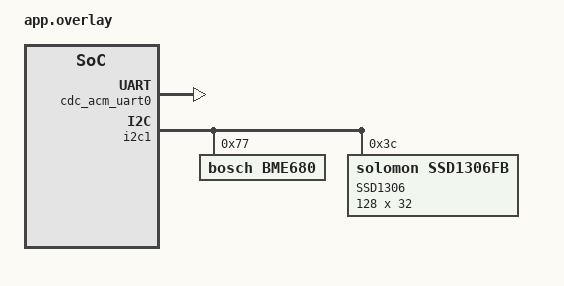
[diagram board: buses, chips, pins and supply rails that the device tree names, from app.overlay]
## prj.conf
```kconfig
CONFIG_GPIO=y
CONFIG_USB_DEVICE_STACK=y
CONFIG_USB_DEVICE_PRODUCT="Notecard Sample"
CONFIG_USB_DEVICE_VID=4440

CONFIG_SERIAL=y
CONFIG_CONSOLE=y
CONFIG_UART_CONSOLE=y
CONFIG_UART_LINE_CTRL=y

CONFIG_I2C=y
CONFIG_SENSOR=y
CONFIG_BME680=y

CONFIG_DISPLAY=y

CONFIG_SSD1306=y
CONFIG_SSD1306_DEFAULT_CONTRAST=128
CONFIG_SSD1306_DEFAULT=y

CONFIG_NEWLIB_LIBC=y
```

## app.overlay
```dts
/*
 * Copyright (c) 2021 Nordic Semiconductor ASA
 *
 * SPDX-License-Identifier: Apache-2.0
 */

/ {
	chosen {
		zephyr,console = &cdc_acm_uart0;
	};
};

&zephyr_udc0 {
	cdc_acm_uart0: cdc_acm_uart0 {
		compatible = "zephyr,cdc-acm-uart";
		label = "CDC_ACM_0";
	};
};

&i2c1 {
	bme680: bme680@77 {
		compatible = "bosch,bme680";
		reg = <0x77>;
		label = "BME680";
	};

	ssd1306@3c {
        compatible = "solomon,ssd1306fb";
        reg = <0x3c>;
        label = "SSD1306";
        height = <32>;
        width  = <128>;
        segment-offset  = <0>;
        page-offset     = <0>;
        display-offset  = <0>;
        multiplex-ratio = <31>;
        prechargep      = <0xD1>;
        segment-remap;
        com-invdir;
        com-sequential;
    };
};
```

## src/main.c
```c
/*
 * Written by the Blues Inc. team.
 *
 * Copyright (c) 2019 Blues Inc. MIT License. Use of this source code is
 * governed by licenses granted by the copyright holder including that found in
 * the LICENSE file.
 */

#include <stdlib.h>
#include <zephyr.h>
#include <device.h>
#include <drivers/sensor.h>
#include <drivers/gpio.h>
#include <sys/util.h>
#include <sys/printk.h>
#include <inttypes.h>
#include <usb/usb_device.h>
#include <drivers/uart.h>

// Include Notecard note-c library
#include "note.h"

// Notecard node-c helper methods
#include "notecard.c"

// Set your ProductUID Here
#define PRODUCT_UID "com.blues.bsatrom:snowflake_demo"

#define SLEEP_TIME_MS	1

uint8_t button_pressed_count = 0;

// Uncomment to communicate with the Notecard over Serial
// #define USE_SERIAL 1

/*
 * Get button configuration from the devicetree sw0 alias. This is mandatory.
 */
#define SW0_NODE	DT_ALIAS(sw0)
#if !DT_NODE_HAS_STATUS(SW0_NODE, okay)
#error "Unsupported board: sw0 devicetree alias is not defined"
#endif

static const struct gpio_dt_spec button = GPIO_DT_SPEC_GET_OR(SW0_NODE, gpios, {0});
static struct gpio_callback button_cb_data;

/*
 * The led0 devicetree alias is optional. If present, we'll use it
 * to turn on the LED whenever the button is pressed.
 */
static struct gpio_dt_spec led = GPIO_DT_SPEC_GET_OR(DT_ALIAS(led0), gpios, {0});

void button_pressed(const struct device *dev, struct gpio_callback *cb,
		    uint32_t pins)
{
	printk("Button pressed at %" PRIu32 "\n", k_cycle_get_32());
}

/*
 * Ensure that an overlay for USB serial has been defined.
 */
BUILD_ASSERT(DT_NODE_HAS_COMPAT(DT_CHOSEN(zephyr_console), zephyr_cdc_acm_uart),
	    "Console device is not ACM CDC UART device");

void main(void)
{
	int ret;

	// Configure USB Serial for Console output
	const struct device *usb_dev = DEVICE_DT_GET(DT_CHOSEN(zephyr_console));
	uint32_t dtr = 0;

	if (usb_enable(NULL)) {
		return;
	}

	// Sleep to wait for a terminal connection. To wait until connected, comment out
	// these two lines and uncomment the while below.
	k_sleep(K_MSEC(2500));
	uart_line_ctrl_get(usb_dev, UART_LINE_CTRL_DTR, &dtr);

	/* To wait for a Console connection, uncomment to poll if the DTR flag was set to activate USB */
	/*
	while (!dtr) {
		uart_line_ctrl_get(usb_dev, UART_LINE_CTRL_DTR, &dtr);
		k_sleep(K_MSEC(100));
	}
	*/

	const struct device *bme_dev = device_get_binding(DT_LABEL(DT_INST(0, bosch_bme680)));
	struct sensor_value temp, press, humidity, gas_res;

	printk("Device %p name is %s\n", bme_dev, bme_dev->name);

	// Initialize note-c references
	NoteSetUserAgent((char *)"note-zephyr");
    NoteSetFnDefault(malloc, free, platform_delay, platform_millis);
	NoteSetFnDebugOutput(noteLogPrint);

	#ifdef USE_SERIAL
		NoteSetFnSerial(noteSerialReset, noteSerialTransmit,
                        noteSerialAvailable, noteSerialReceive);
	#else
		NoteSetFnI2C(NOTE_I2C_ADDR_DEFAULT, NOTE_I2C_MAX_DEFAULT, noteI2cReset,
            		 noteI2cTransmit, noteI2cReceive);

	#endif

	// Send a Notecard hub.set using note-c
	J *req = NoteNewRequest("hub.set");
	JAddStringToObject(req, "product", PRODUCT_UID);
	JAddStringToObject(req, "mode", "continuous");
	JAddStringToObject(req, "sn", "zephyr-notecard");

	if (NoteRequest(req)) {
		printk("Notecard hub.set successful.\n");
	} else {
		printk("Notecard hub.set failed.\n");
	}

	req = NoteNewRequest("card.dfu");
  	JAddStringToObject(req, "name", "stm32");
  	JAddBoolToObject(req, "on", true);

	if (NoteRequest(req)) {
		printk("Notecard card.dfu successful.\n");
	} else {
		printk("Notecard card.dfu failed.\n");
	}

	if (!device_is_ready(button.port)) {
		printk("Error: button device %s is not ready\n",
		       button.port->name);
		return;
	}

	ret = gpio_pin_configure_dt(&button, GPIO_INPUT);
	if (ret != 0) {
		printk("Error %d: failed to configure %s pin %d\n",
		       ret, button.port->name, button.pin);
		return;
	}

	ret = gpio_pin_interrupt_configure_dt(&button,
					      GPIO_INT_EDGE_TO_ACTIVE);
	if (ret != 0) {
		printk("Error %d: failed to configure interrupt on %s pin %d\n",
			ret, button.port->name, button.pin);
		return;
	}

	gpio_init_callback(&button_cb_data, button_pressed, BIT(button.pin));
	gpio_add_callback(button.port, &button_cb_data);
	printk("Set up button at %s pin %d\n", button.port->name, button.pin);

	if (led.port && !device_is_ready(led.port)) {
		printk("Error %d: LED device %s is not ready; ignoring it\n",
		       ret, led.port->name);
		led.port = NULL;
	}
	if (led.port) {
		ret = gpio_pin_configure_dt(&led, GPIO_OUTPUT);
		if (ret != 0) {
			printk("Error %d: failed to configure LED device %s pin %d\n",
			       ret, led.port->name, led.pin);
			led.port = NULL;
		} else {
			printk("Set up LED at %s pin %d\n", led.port->name, led.pin);
		}
	}

	if (led.port) {
		while (1) {

			sensor_sample_fetch(bme_dev);
			sensor_channel_get(bme_dev, SENSOR_CHAN_AMBIENT_TEMP, &temp);
			sensor_channel_get(bme_dev, SENSOR_CHAN_PRESS, &press);
			sensor_channel_get(bme_dev, SENSOR_CHAN_HUMIDITY, &humidity);
			sensor_channel_get(bme_dev, SENSOR_CHAN_GAS_RES, &gas_res);

			printk("T: %d.%06d; P: %d.%06d; H: %d.%06d; G: %d.%06d\n",
					temp.val1, temp.val2, press.val1, press.val2,
					humidity.val1, humidity.val2, gas_res.val1,
					gas_res.val2);

			req = NoteNewRequest("note.add");
			JAddBoolToObject(req, "sync", true);
			J *body = JCreateObject();
			JAddStringToObject(body, "os", "zephyr");
			JAddNumberToObject(body, "temp", temp.val1);
			JAddNumberToObject(body, "humidity", humidity.val1);
			JAddNumberToObject(body, "pressure", press.val1);
			JAddItemToObject(req, "body", body);

			if (NoteRequest(req)) {
				printk("Notecard note.add successful.\n");
			} else {
				printk("Notecard note.add failed.\n");
			}

			k_sleep(K_MSEC(30000));
		}
	}
}
```

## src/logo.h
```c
#define imageWidth 128
#define imageHeight 32

const unsigned char logo [] =
{
    0xFF, 0xFF, 0xFF, 0xFF, 0xFF, 0xFF, 0xFF, 0xFF, 0xFF, 0xFF,
    0xFF, 0xFF, 0xFF, 0xFF, 0xFF, 0xFF, 0xFF, 0xFF, 0xFF, 0xFF,
    0xFF, 0xFF, 0xFF, 0xFF, 0xFF, 0xFF, 0xFF, 0xFF, 0xFF, 0xFF,
    0xFF, 0xFF, 0xFF, 0xFF, 0xFF, 0xFF, 0xFF, 0xFF, 0xFF, 0xFF,
    0xFF, 0xFF, 0xFF, 0xFF, 0xFF, 0xFF, 0xFF, 0xFF, 0xFF, 0xFF,
    0xFF, 0xFF, 0xFF, 0xFF, 0xFF, 0x7F, 0xEF, 0xFF, 0xFF, 0xFF,
    0xFF, 0xFF, 0x7F, 0x3F, 0xFF, 0xFF, 0xFF, 0x63, 0xFF, 0xFF,
    0xFF, 0xFF, 0xFF, 0xFF, 0xFF, 0xFF, 0xFF, 0xFF, 0xFF, 0xFF,
    0xFF, 0xFF, 0xFF, 0xFF, 0xFF, 0xFF, 0xFF, 0xFF, 0xFF, 0xFF,
    0xFF, 0xFF, 0xFF, 0xFF, 0xFF, 0xFF, 0xFF, 0xFF, 0xFF, 0xFF,
    0xFF, 0xFF, 0xFF, 0xFF, 0xFF, 0xFF, 0xFF, 0xFF, 0xFF, 0xFF,
    0xFF, 0xFF, 0xFF, 0xFF, 0xFF, 0xFF, 0xFF, 0xFF, 0xFF, 0xFF,
    0xFF, 0xFF, 0xFF, 0xFF, 0xFF, 0xFF, 0xFF, 0xFF, 0xFF, 0xFF,
    0xFF, 0xFF, 0xFF, 0xFF, 0xFF, 0xFF, 0xFF, 0xFF, 0xFF, 0xFF,
    0xFF, 0xFF, 0xFF, 0xFF, 0xFF, 0xFF, 0xFF, 0xFF, 0xFF, 0xFF,
    0xFF, 0xFF, 0xFF, 0xFF, 0xFF, 0xFF, 0xFF, 0xFF, 0xFF, 0xFF,
    0xFF, 0xFF, 0xFF, 0xFF, 0xFF, 0xFF, 0xFF, 0xFF, 0xFF, 0xFF,
    0xFF, 0xFF, 0xFF, 0xFF, 0xFF, 0xFF, 0xFF, 0xFF, 0xFF, 0xFF,
    0x7F, 0x7F, 0x7B, 0x9F, 0x9F, 0x8F, 0x87, 0x83, 0xC1, 0xC0,
    0xC0, 0xC0, 0xC0, 0xE1, 0xE7, 0xE6, 0xFF, 0xFF, 0xFF, 0xFF,
    0xFF, 0xFF, 0xFF, 0xFF, 0xFF, 0xFF, 0xFF, 0xFF, 0xFF, 0xFF,
    0xFF, 0xFF, 0xFF, 0xFF, 0xFF, 0xFF, 0xFF, 0xFF, 0xFF, 0xFF,
    0xFF, 0xFF, 0xFF, 0xFF, 0xFF, 0xFF, 0xFF, 0xFF, 0xFF, 0xFF,
    0xFF, 0xFF, 0xFF, 0xFF, 0xFF, 0xFF, 0xFF, 0xFF, 0xFF, 0xFF,
    0xFF, 0xFF, 0xFF, 0xFF, 0xFF, 0xFF, 0xFF, 0xFF, 0xFF, 0xFF,
    0xFF, 0xFF, 0xFF, 0xFF, 0xFF, 0xFF, 0xFF, 0xFF, 0xFF, 0xFF,
    0xFF, 0xFF, 0xFF, 0xFF, 0xFF, 0xFF, 0xFF, 0xFF, 0xFF, 0xFF,
    0xFF, 0xFF, 0xFF, 0xFF, 0xFF, 0xFF, 0xFF, 0xFF, 0xFF, 0xFF,
    0xFF, 0xFF, 0xFF, 0xFF, 0xFF, 0xFF, 0xFF, 0xFF, 0xFF, 0xFF,
    0xFF, 0xFF, 0xFF, 0xFF, 0xF7, 0xF7, 0xFF, 0xFF, 0xFF, 0xFF,
    0xFF, 0xFF, 0xFF, 0xFF, 0xFB, 0xF3, 0xF1, 0xFF, 0xFF, 0xFF,
    0xFF, 0xFF, 0xFF, 0x9F, 0x9F, 0x9F, 0x1F, 0x1F, 0x9F, 0xFF,
    0x7F, 0x7F, 0x7F, 0xFF, 0xFF, 0x7F, 0x7F, 0x7F, 0x7F, 0x7F,
    0xFF, 0xFF, 0x1F, 0x7F, 0x7F, 0x7F, 0xFF, 0x7F, 0x7F, 0xFF,
    0xFF, 0x7F, 0x7F, 0xFF, 0x7F, 0x7F, 0x7F, 0xFF, 0x9F, 0x9F,
    0xFF, 0xFF, 0xFF, 0xFF, 0xFF, 0xFF, 0xFF, 0xFF, 0xFF, 0xFF,
    0xFF, 0xFF, 0xFF, 0xFF, 0xFF, 0xFF, 0xFF, 0xFF, 0xFF, 0xFF,
    0xFF, 0xFF, 0xFF, 0xFF, 0xFF, 0xFF, 0xFF, 0xFF, 0xFF, 0xFF,
    0xFF, 0xFF, 0xFF, 0xFF, 0xFF, 0xFF, 0xFF, 0xFF, 0xFF, 0xFF,
    0xFF, 0xFF, 0xFF, 0xFF, 0xFF, 0xFF, 0xFF, 0xFF, 0xFF, 0xFF,
    0xFF, 0xFF, 0xFF, 0xFF, 0xFF, 0xFF, 0xFF, 0xFF, 0xFF, 0xFF,
    0xFF, 0xFF, 0xFF, 0xFF, 0xFF, 0xFF, 0xFF, 0xFF, 0xFF, 0xFF,
    0xFF, 0xFF, 0xFF, 0xFF, 0xFF, 0xFF, 0xFF, 0xFF, 0xFF, 0xFF,
    0xFF, 0xFF, 0xFF, 0xFF, 0xFF, 0xFF, 0xFF, 0xFF, 0xFF, 0xFF,
    0xFF, 0xE7, 0xE1, 0xE0, 0xE4, 0xE7, 0xE7, 0xF1, 0xF0, 0xE0,
    0xEC, 0xE4, 0xFD, 0x80, 0x80, 0xE6, 0xE6, 0xE0, 0xF0, 0xFF,
    0xE0, 0xFE, 0xFE, 0xE0, 0xE0, 0xFE, 0xB8, 0x83, 0xC3, 0xF8,
    0xFE, 0xE0, 0xE0, 0xFE, 0xFE, 0xFF, 0xFF, 0xFF, 0xFF, 0xFF,
    0xFF, 0xFF, 0xFF, 0xFF, 0xFF, 0xFF, 0xFF, 0xFF, 0xFF, 0xFF,
    0xFF, 0xFF, 0xFF, 0xFF, 0xFF, 0xFF, 0xFF, 0xFF, 0xFF, 0xFF,
    0xFF, 0xFF, 0xFF, 0xFF, 0xFF, 0xFF, 0xFF, 0xFF, 0xFF, 0xFF,
    0xFF, 0xFF
};
```
